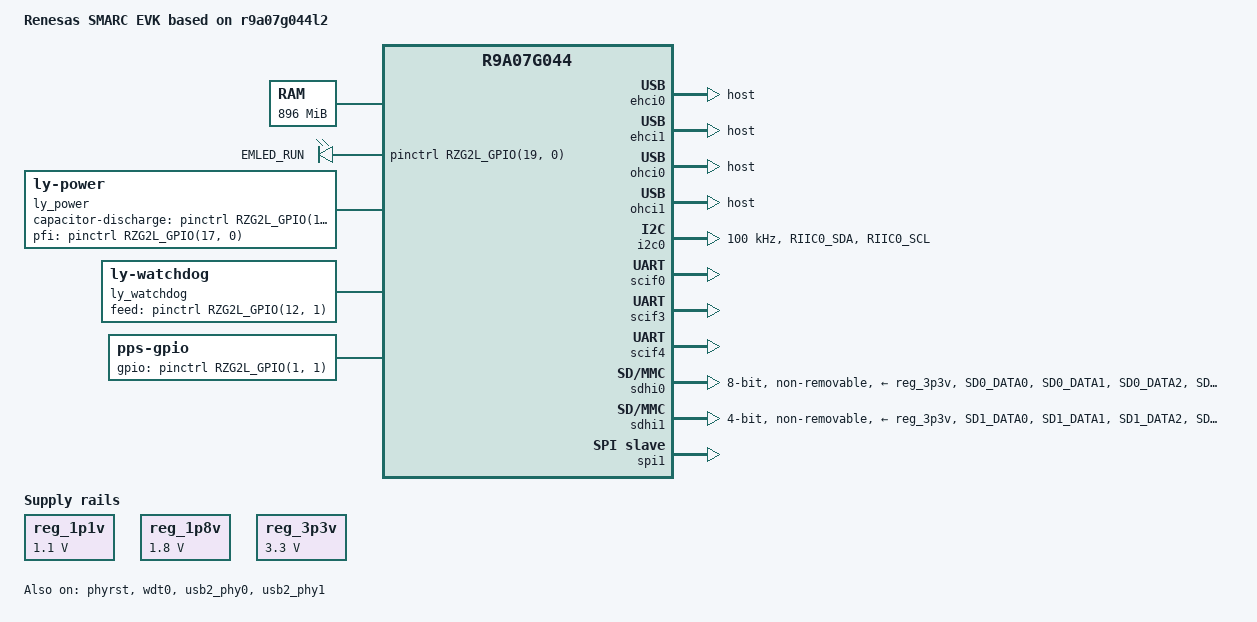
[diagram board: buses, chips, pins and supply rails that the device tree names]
// SPDX-License-Identifier: (GPL-2.0-only OR BSD-2-Clause)
/*
 * Device Tree Source for the RZ/G2L SMARC EVK board
 *
 * Copyright (C) 2021 Renesas Electronics Corp.
 */
#include "r9a07g044l2.dtsi"

#include <dt-bindings/gpio/gpio.h>
#include <dt-bindings/pinctrl/rzg2l-pinctrl.h>
#include <dt-bindings/input/input.h>

/ {
	model = "Renesas SMARC EVK based on r9a07g044l2";
	compatible = "renesas,smarc-evk", "renesas,r9a07g044l2", "renesas,r9a07g044";

	aliases {
		ethernet0 = &eth0;
		ethernet1 = &eth1;

		serial0 = &scif0;
		serial1 = &scif1;
		serial2 = &scif2;
		serial3 = &scif3;
		serial4 = &scif4;
		serial5 = &sci0;
		serial6 = &sci1;

		i2c0 = &i2c0;
		i2c1 = &i2c1;
		i2c3 = &i2c3;

		mmc0 = &sdhi0;
		mmc1 = &sdhi1;

		rspi0 = &spi0;
		rspi1 = &spi1;
	};

	chosen {
		stdout-path = "serial0:115200n8";
	};

	memory@48000000 {
		device_type = "memory";
		/* first 128MB is reserved for secure area. */
		reg = <0x0 0x48000000 0x0 0x38000000>;
	};

	reserved-memory {
		#address-cells = <2>;
		#size-cells = <2>;
		ranges;

		global_cma: linux,cma@58000000 {
			compatible = "shared-dma-pool";
			linux,cma-default;
			reusable;
			reg = <0x0 0x58000000 0x0 0x10000000>;
		};

		mmp_reserved: linux,multimedia {
			compatible = "shared-dma-pool";
			reusable;
			reg = <0x0 0x68000000 0x0 0x8000000>;
		};
	};

	mmngr {
		compatible = "renesas,mmngr";
		memory-region = <&mmp_reserved>;
	};

	mmngrbuf {
		compatible = "renesas,mmngrbuf";
	};

	vspm_if {
		compatible = "renesas,vspm_if";
	};

	reg_1p1v: regulator-vdd-core {
		compatible = "regulator-fixed";
		regulator-name = "fixed-1.1V";
		regulator-min-microvolt = <1100000>;
		regulator-max-microvolt = <1100000>;
		regulator-boot-on;
		regulator-always-on;
	};

	reg_1p8v: regulator-1p8v {
		compatible = "regulator-fixed";
		regulator-name = "fixed-1.8V";
		regulator-min-microvolt = <1800000>;
		regulator-max-microvolt = <1800000>;
		regulator-boot-on;
		regulator-always-on;
	};

	reg_3p3v: regulator-3p3v {
		compatible = "regulator-fixed";
		regulator-name = "fixed-3.3V";
		regulator-min-microvolt = <3300000>;
		regulator-max-microvolt = <3300000>;
		regulator-boot-on;
		regulator-always-on;
	};

	leds {
		compatible = "gpio-leds";
		status = "okay";

		emled_run {
			gpios = <&pinctrl RZG2L_GPIO(19, 0) GPIO_ACTIVE_HIGH>;
			label = "EMLED_RUN";
			default-state = "on";
			linux,default-trigger = "none";
		};
	};

	keyboard {
		compatible = "gpio-keys";
		#address-cells = <1>;
		#size-cells = <0>;
		autorepeat;
		status = "disabled";

		key-up {
			interrupt-parent = <&pinctrl>;
			interrupts = <RZG2L_GPIO(46, 0) IRQ_TYPE_EDGE_FALLING>;
			linux,code = <KEY_UP>;
			debounce-interval = <20>;
			label = "key_up";
		};

		key-left {
			interrupt-parent = <&pinctrl>;
			interrupts = <RZG2L_GPIO(46, 1) IRQ_TYPE_EDGE_FALLING>;
			linux,code = <KEY_LEFT>;
			debounce-interval = <20>;
			label = "key_left";
		};

		key-down {
			interrupt-parent = <&pinctrl>;
			interrupts = <RZG2L_GPIO(46, 2) IRQ_TYPE_EDGE_FALLING>;
			linux,code = <KEY_DOWN>;
			debounce-interval = <20>;
			label = "key_down";
		};

		key-right {
			interrupt-parent = <&pinctrl>;
			interrupts = <RZG2L_GPIO(46, 3) IRQ_TYPE_EDGE_FALLING>;
			linux,code = <KEY_RIGHT>;
			debounce-interval = <20>;
			label = "key_right";
		};

		key-esc {
			interrupt-parent = <&pinctrl>;
			interrupts = <RZG2L_GPIO(1, 1) IRQ_TYPE_EDGE_FALLING>;
			linux,code = <KEY_ESC>;
			debounce-interval = <20>;
			label = "key_esc";
		};

		key-enter {
			interrupt-parent = <&pinctrl>;
			interrupts = <RZG2L_GPIO(1, 0) IRQ_TYPE_EDGE_FALLING>;
			linux,code = <KEY_ENTER>;
			debounce-interval = <20>;
			label = "key_enter";
		};
	};

	ly_st75161 {
		compatible = "ly-st75161";
		lcd-A0-gpios = <&pinctrl RZG2L_GPIO(18, 1) GPIO_ACTIVE_HIGH>;
		lcd-SCLK-gpios = <&pinctrl RZG2L_GPIO(19, 1) GPIO_ACTIVE_HIGH>;
		lcd-MOSI-gpios = <&pinctrl RZG2L_GPIO(19, 0) GPIO_ACTIVE_HIGH>;
		lcd-CSB-gpios = <&pinctrl RZG2L_GPIO(45, 2) GPIO_ACTIVE_HIGH>;
		lcd-RSTB-gpios = <&pinctrl RZG2L_GPIO(18, 0) GPIO_ACTIVE_HIGH>;
		lcd-BL-gpios = <&pinctrl RZG2L_GPIO(45, 3) GPIO_ACTIVE_LOW>;
		status = "disabled";
	};

	ly_power {
		compatible = "ly-power";
		capacitor-discharge-gpios = <&pinctrl RZG2L_GPIO(17, 1) GPIO_ACTIVE_LOW>;
		pfi-gpios = <&pinctrl RZG2L_GPIO(17, 0) GPIO_ACTIVE_HIGH>;
		status = "okay";
	};

	ly_watchdog {
		compatible = "ly-watchdog";
		feed-gpios = <&pinctrl RZG2L_GPIO(12, 1) GPIO_ACTIVE_HIGH>;
		status = "okay";
	};

	ly_gps {
		compatible = "ly-gps";
		pps-gpios = <&pinctrl RZG2L_GPIO(1, 0) GPIO_ACTIVE_HIGH>;
		status = "disabled";
	};

	pps {
		compatible = "pps-gpio";
		gpios = <&pinctrl RZG2L_GPIO(1, 1) GPIO_ACTIVE_HIGH>;
		status = "okay";
	};
};

&adc {
	pinctrl-names = "default";
	status = "disabled";

	/delete-node/ channel@2;
	/delete-node/ channel@3;
	/delete-node/ channel@4;
	/delete-node/ channel@5;
	/delete-node/ channel@6;
	/delete-node/ channel@7;
};

&eth0 {
	pinctrl-0 = <&eth0_pins>;
	pinctrl-names = "default";
	phy-handle = <&phy0>;
	phy-mode = "mii";
	linux,ifname = "eth0";
	status = "disabled";

	phy0: ethernet-phy@3 {
		compatible = "ethernet-phy-id0000.0128",
			     "ethernet-phy-ieee802.3-c22";
		reg = <3>;
		rxc-skew-psec = <2400>;
		txc-skew-psec = <2400>;
		rxdv-skew-psec = <0>;
		txdv-skew-psec = <0>;
		rxd0-skew-psec = <0>;
		rxd1-skew-psec = <0>;
		rxd2-skew-psec = <0>;
		rxd3-skew-psec = <0>;
		txd0-skew-psec = <0>;
		txd1-skew-psec = <0>;
		txd2-skew-psec = <0>;
		txd3-skew-psec = <0>;
	};
};

&eth1 {
	pinctrl-0 = <&eth1_pins>;
	pinctrl-names = "default";
	phy-handle = <&phy1>;
	phy-mode = "rgmii-id";
	linux,ifname = "eth1";
	status = "disabled";

	phy1: ethernet-phy@1 {
		compatible = "ethernet-phy-id4f51.e91b",
			     "ethernet-phy-ieee802.3-c22";
		reg = <1>;
		rxc-skew-psec = <0>;
		txc-skew-psec = <1800>;
		rxdv-skew-psec = <0>;
		txen-skew-psec = <0>;
		rxd0-skew-psec = <0>;
		rxd1-skew-psec = <0>;
		rxd2-skew-psec = <0>;
		rxd3-skew-psec = <0>;
		txd0-skew-psec = <0>;
		txd1-skew-psec = <0>;
		txd2-skew-psec = <0>;
		txd3-skew-psec = <0>;
	};
};

&extal_clk {
	clock-frequency = <24000000>;
};

&ostm1 {
	status = "disabled";
};

&ostm2 {
	status = "disabled";
};

&pinctrl {
	can0_pins: can0 {
		pinmux = <RZG2L_PORT_PINMUX(10, 1, 2)>, /* TX */
			 <RZG2L_PORT_PINMUX(11, 0, 2)>; /* RX */
	};

	can1_pins: can1 {
		pinmux = <RZG2L_PORT_PINMUX(12, 1, 2)>, /* TX */
			 <RZG2L_PORT_PINMUX(13, 0, 2)>; /* RX */
	};

	eth0_pins: eth0 {
		pinmux = <RZG2L_PORT_PINMUX(27, 1, 1)>, /* ET0_MDC */
			 <RZG2L_PORT_PINMUX(28, 0, 1)>, /* ET0_MDIO */
			 <RZG2L_PORT_PINMUX(20, 0, 1)>, /* ET0_TXC */
			 <RZG2L_PORT_PINMUX(20, 1, 1)>, /* ET0_TX_CTL */
			 <RZG2L_PORT_PINMUX(20, 2, 1)>, /* ET0_TXD0 */
			 <RZG2L_PORT_PINMUX(21, 0, 1)>, /* ET0_TXD1 */
			 <RZG2L_PORT_PINMUX(21, 1, 1)>, /* ET0_TXD2 */
			 <RZG2L_PORT_PINMUX(22, 0, 1)>, /* ET0_TXD3 */
			 <RZG2L_PORT_PINMUX(22, 1, 1)>,	/* ETH0_TX_ERR */
			 <RZG2L_PORT_PINMUX(23, 0, 1)>,	/* ETH0_TX_COL */
			 <RZG2L_PORT_PINMUX(23, 1, 1)>, /* ETH0_TX_CRS */
			 <RZG2L_PORT_PINMUX(24, 0, 1)>, /* ET0_RXC */
			 <RZG2L_PORT_PINMUX(24, 1, 1)>, /* ET0_RX_CTL */
			 <RZG2L_PORT_PINMUX(25, 0, 1)>, /* ET0_RXD0 */
			 <RZG2L_PORT_PINMUX(25, 1, 1)>, /* ET0_RXD1 */
			 <RZG2L_PORT_PINMUX(26, 0, 1)>, /* ET0_RXD2 */
			 <RZG2L_PORT_PINMUX(26, 1, 1)>, /* ET0_RXD3 */
			 <RZG2L_PORT_PINMUX(27, 0, 1)>; /* ETH0_RX_ERR */
	};

	eth1_pins: eth1 {
		txc {
			pinmux = <RZG2L_PORT_PINMUX(29, 0, 1)>; /* ET1_TXC */
			power-source = <3300>;
			output-enable;
		};

		mux {
			pinmux = <RZG2L_PORT_PINMUX(37, 0, 1)>, /* ET1_MDC */
					<RZG2L_PORT_PINMUX(37, 1, 1)>, /* ET1_MDIO */
					<RZG2L_PORT_PINMUX(29, 1, 1)>, /* ET1_TX_CTL */
					<RZG2L_PORT_PINMUX(30, 0, 1)>, /* ET1_TXD0 */
					<RZG2L_PORT_PINMUX(30, 1, 1)>, /* ET1_TXD1 */
					<RZG2L_PORT_PINMUX(31, 0, 1)>, /* ET1_TXD2 */
					<RZG2L_PORT_PINMUX(31, 1, 1)>, /* ET1_TXD3 */
					<RZG2L_PORT_PINMUX(33, 1, 1)>, /* ET1_RXC */
					<RZG2L_PORT_PINMUX(34, 0, 1)>, /* ET1_RX_CTL */
					<RZG2L_PORT_PINMUX(34, 1, 1)>, /* ET1_RXD0 */
					<RZG2L_PORT_PINMUX(35, 0, 1)>, /* ET1_RXD1 */
					<RZG2L_PORT_PINMUX(35, 1, 1)>, /* ET1_RXD2 */
					<RZG2L_PORT_PINMUX(36, 0, 1)>; /* ET1_RXD3 */
			power-source = <3300>;                                                                                                           
		};
	};

	sdhi0_emmc_pins: sd0emmc {
		sd0_emmc_data {
			pins = "SD0_DATA0", "SD0_DATA1", "SD0_DATA2", "SD0_DATA3",
			       "SD0_DATA4", "SD0_DATA5", "SD0_DATA6", "SD0_DATA7";
			power-source = <1800>;
		};

		sd0_emmc_ctrl {
			pins = "SD0_CLK", "SD0_CMD";
			power-source = <1800>;
		};

		sd0_emmc_rst {
			pins = "SD0_RST#";
			power-source = <1800>;
		};
	};

	sdhi1_pins: sd1 {
		sd1_data {
			pins = "SD1_DATA0", "SD1_DATA1", "SD1_DATA2", "SD1_DATA3";
			power-source = <3300>;
		};

		sd1_ctrl {
			pins = "SD1_CLK", "SD1_CMD";
			power-source = <3300>;
		};
	};

	i2c0_pins: i2c0 {
		pins = "RIIC0_SDA", "RIIC0_SCL";
		input-enable;
	};

	i2c1_pins: i2c1 {
		pins = "RIIC1_SDA", "RIIC1_SCL";
		input-enable;
	};

	i2c2_pins: i2c2 {
		pinmux = <RZG2L_PORT_PINMUX(19, 0, 4)>, /* SDA */
			 <RZG2L_PORT_PINMUX(19, 1, 4)>; /* SCL */
	};

	i2c3_pins: i2c3 {
		pinmux = <RZG2L_PORT_PINMUX(8, 1, 4)>, /* SDA */
			 <RZG2L_PORT_PINMUX(8, 0, 4)>; /* SCL */
	};

	scif0_pins: scif0 {
		pinmux = <RZG2L_PORT_PINMUX(38, 0, 1)>,	/* TxD */
			 <RZG2L_PORT_PINMUX(38, 1, 1)>;	/* RxD */
	};

	scif1_pins: scif1 {
		pinmux = <RZG2L_PORT_PINMUX(40, 0, 1)>,	/* TxD */
			 <RZG2L_PORT_PINMUX(40, 1, 1)>;	/* RxD */
	};

	scif2_pins: scif2 {
		pinmux = <RZG2L_PORT_PINMUX(48, 0, 1)>,	/* TxD */
			 <RZG2L_PORT_PINMUX(48, 1, 1)>,	/* RxD */
			 <RZG2L_PORT_PINMUX(48, 3, 1)>, /* CTS# */
			 <RZG2L_PORT_PINMUX(48, 4, 1)>; /* RTS# */
	};

	scif3_pins: scif3 {
		pinmux = <RZG2L_PORT_PINMUX(0, 0, 5)>,	/* TxD */
			 <RZG2L_PORT_PINMUX(0, 1, 5)>;	/* RxD */
	};

	scif4_pins: scif4 {
		pinmux = <RZG2L_PORT_PINMUX(2, 0, 5)>,	/* TxD */
			 <RZG2L_PORT_PINMUX(2, 1, 5)>;	/* RxD */
	};

	sci0_pins: sci0 {
		pinmux = <RZG2L_PORT_PINMUX(47, 1, 1)>, /* TxD */
			 <RZG2L_PORT_PINMUX(47, 0, 1)>; /* RxD */
	};

	sci1_pins: sci1 {
		pinmux = <RZG2L_PORT_PINMUX(45, 1, 3)>, /* TxD */
			 <RZG2L_PORT_PINMUX(45, 0, 3)>; /* RxD */
	};

	spi0_pins: spi0 {
		pinmux = <RZG2L_PORT_PINMUX(43, 0, 1)>, /* CK */
			 <RZG2L_PORT_PINMUX(43, 1, 1)>, /* MOSI */
			 <RZG2L_PORT_PINMUX(43, 2, 1)>, /* MISO */
			 <RZG2L_PORT_PINMUX(43, 3, 1)>; /* SSL */
	};

	spi1_pins: spi1 {
		pinmux = <RZG2L_PORT_PINMUX(44, 0, 1)>, /* CK */
			 <RZG2L_PORT_PINMUX(44, 1, 1)>, /* MOSI */
			 <RZG2L_PORT_PINMUX(44, 2, 1)>; /* MISO */
	};

	usb0_pins: usb0 {
		pinmux = <RZG2L_PORT_PINMUX(4, 0, 1)>, /* VBUS */
			 <RZG2L_PORT_PINMUX(5, 0, 1)>; /* OVC */
	};

	usb1_pins: usb1 {
		pinmux = <RZG2L_PORT_PINMUX(42, 0, 1)>, /* VBUS */
			 <RZG2L_PORT_PINMUX(42, 1, 1)>; /* OVC */
	};

};

&canfd {
	pinctrl-0 = <&can0_pins &can1_pins>;
	pinctrl-names = "default";
	status = "disabled";

	channel0 {
		status = "disabled";
	};

	channel1 {
		status = "disabled";
	};
};

&ehci0 {
	dr_mode = "host";
	status = "okay";

	memory-region = <&global_cma>;
};

&ehci1 {
	status = "okay";
	dr_mode = "host";

	memory-region = <&global_cma>;
};

&ohci0 {
	dr_mode = "host";
	status = "okay";

	memory-region = <&global_cma>;
};

&ohci1 {
	dr_mode = "host";
	status = "okay";

	memory-region = <&global_cma>;
};

&phyrst {
	status = "okay";
};

&wdt0 {
	status = "okay";
	timeout-sec = <60>;
};

&gpu {
	mali-supply = <&reg_1p1v>;
	status = "disabled";
};

&i2c0 {
	pinctrl-0 = <&i2c0_pins>;
	pinctrl-names = "default";
	clock-frequency = <100000>;
	status = "okay";
};

&i2c1 {
	pinctrl-0 = <&i2c1_pins>;
	pinctrl-names = "default";
	clock-frequency = <100000>;
	status = "disabled";
};

&i2c2 {
	pinctrl-0 = <&i2c2_pins>;
	pinctrl-names = "default";
	clock-frequency = <100000>;
	status = "disabled";
};

&i2c3 {
	pinctrl-0 = <&i2c3_pins>;
	pinctrl-names = "default";
	clock-frequency = <100000>;
	status = "disabled";

	rx8025t: rx8025t@32 {
		compatible = "epson,rx8025t";
		reg = <0x32>;
		status = "disabled";
	};
};

&scif0 {
	pinctrl-0 = <&scif0_pins>;
	pinctrl-names = "default";
	dmas = <&dmac 0x4e79>, <&dmac 0x4e7a>;
	dma-names = "tx", "rx";
	status = "okay";
};

&scif1 {
	pinctrl-0 = <&scif1_pins>;
	pinctrl-names = "default";
	rs485-enabled;
	rs485-gpios = <&pinctrl RZG2L_GPIO(40, 2) GPIO_ACTIVE_LOW>;
	status = "disabled";
};

&scif2 {
	pinctrl-0 = <&scif2_pins>;
	pinctrl-names = "default";
	uart-has-rtscts;
	status = "disabled";
};

&scif3 {
	pinctrl-0 = <&scif3_pins>;
	pinctrl-names = "default";
	status = "okay";
};

&scif4 {
	pinctrl-0 = <&scif4_pins>;
	pinctrl-names = "default";
	status = "okay";
};

&sci0 {
	pinctrl-0 = <&sci0_pins>;
	pinctrl-names = "default";
	status = "disabled";
};

&sci1 {
	pinctrl-0 = <&sci1_pins>;
	pinctrl-names = "default";
	status = "disabled";
};

&sdhi0 {
	pinctrl-0 = <&sdhi0_emmc_pins>;
	pinctrl-1 = <&sdhi0_emmc_pins>;
	pinctrl-names = "default", "state_uhs";

	vmmc-supply = <&reg_3p3v>;
	vqmmc-supply = <&reg_1p8v>;
	bus-width = <8>;
	mmc-hs200-1_8v;
	non-removable;
	fixed-emmc-driver-type = <1>;
	status = "okay";
};

&sdhi1 {
	pinctrl-0 = <&sdhi1_pins>;
	pinctrl-names = "default";
	vmmc-supply = <&reg_3p3v>;
	vqmmc-supply = <&reg_3p3v>;
	bus-width = <4>;
	disable-wp;
	no-mmc;
	no-sd;
	non-removable;
	no-1-8-v;
	status = "okay";
};

&spi0 {
	pinctrl-0 = <&spi0_pins>;
	pinctrl-names = "default";
	spi-slave;
	status = "disabled";
	slave {
		compatible = "rohm,dh2228fv";
		reg = <0>;
		spi-max-frequency = <50000000>;
		spi-cpha;
		status = "okay";
	};
};

&spi1 {
	pinctrl-0 = <&spi1_pins>;
	pinctrl-names = "default";
	spi-slave;
	status = "okay";
	slave {
		compatible = "rohm,dh2228fv";
		reg = <0>;
		spi-max-frequency = <50000000>;
		spi-cpha;
		status = "okay";
	};
};

&usb2_phy0 {
	pinctrl-0 = <&usb0_pins>;
	pinctrl-names = "default";

	status = "okay";
};

&usb2_phy1 {
	pinctrl-0 = <&usb1_pins>;
	pinctrl-names = "default";

	status = "okay";
};

&mtu3 {
	status = "disabled";
};

&cru {
	status = "disabled";
};
